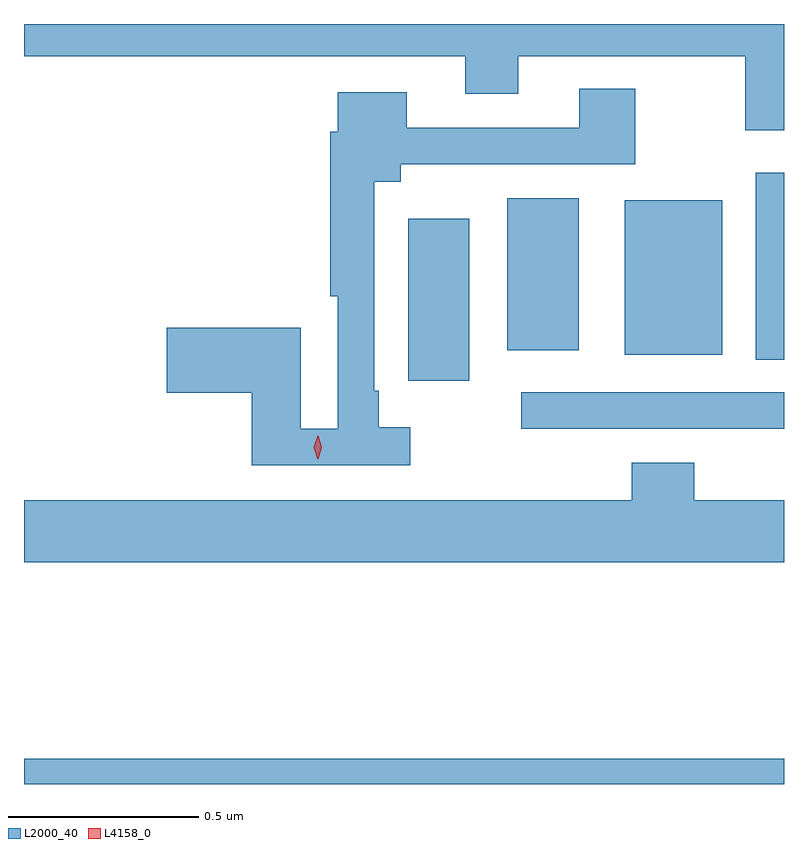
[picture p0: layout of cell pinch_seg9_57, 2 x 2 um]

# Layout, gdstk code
import gdstk
lib = gdstk.Library(unit=1e-6, precision=1e-09)
def R(c, l, rs):  # rectangles x0, y0, x1, y1
    for r in rs: c.add(gdstk.rectangle(r[:2], r[2:], *l))
def P(c, l, *ps):  # polygons
    for p in ps: c.add(gdstk.Polygon(p, *l))
L2000_40 = (2000, 40)
L4158_0 = (4158, 0)

pinch_seg9_57 = lib.new_cell('pinch_seg9_57')
R(pinch_seg9_57, L2000_40, [(938.204,1186.513,940.204,1186.58), (939.513,1187.448,940.204,1187.544), (939.215,1187.574,939.376,1188.001), (940.13,1187.629,940.204,1188.121), (939.785,1187.642,940.042,1188.049), (939.476,1187.654,939.664,1188.055)])
P(pinch_seg9_57, L2000_40, [(940.204,1188.513),(938.204,1188.513),(938.204,1188.428),(939.365,1188.428),(939.365,1188.329),(939.505,1188.329),(939.505,1188.428),(940.102,1188.428),(940.102,1188.234),(940.204,1188.234)],
  [(939.22,1187.452),(939.138,1187.452),(939.138,1187.548),(939.126,1187.548),(939.126,1188.098),(939.196,1188.098),(939.196,1188.144),(939.813,1188.144),(939.813,1188.343),(939.665,1188.343),(939.665,1188.24),(939.211,1188.24),(939.211,1188.334),(939.029,1188.334),(939.029,1188.23),(939.01,1188.23),(939.01,1187.797),(939.03,1187.797),(939.03,1187.448),(938.932,1187.448),(938.932,1187.714),(938.58,1187.714),(938.58,1187.543),(938.803,1187.543),(938.803,1187.352),(939.22,1187.352)],
  [(940.204,1187.26),(939.968,1187.26),(939.968,1187.359),(939.803,1187.359),(939.803,1187.26),(938.204,1187.26),(938.204,1187.096),(940.204,1187.096)])
P(pinch_seg9_57, L4158_0, [(938.977,1187.368),(938.977,1187.368),(938.967,1187.399),(938.977,1187.43),(938.977,1187.43),(938.978,1187.43),(938.987,1187.399),(938.978,1187.368)])

lib.write_gds('pinch_seg9_57.gds')
